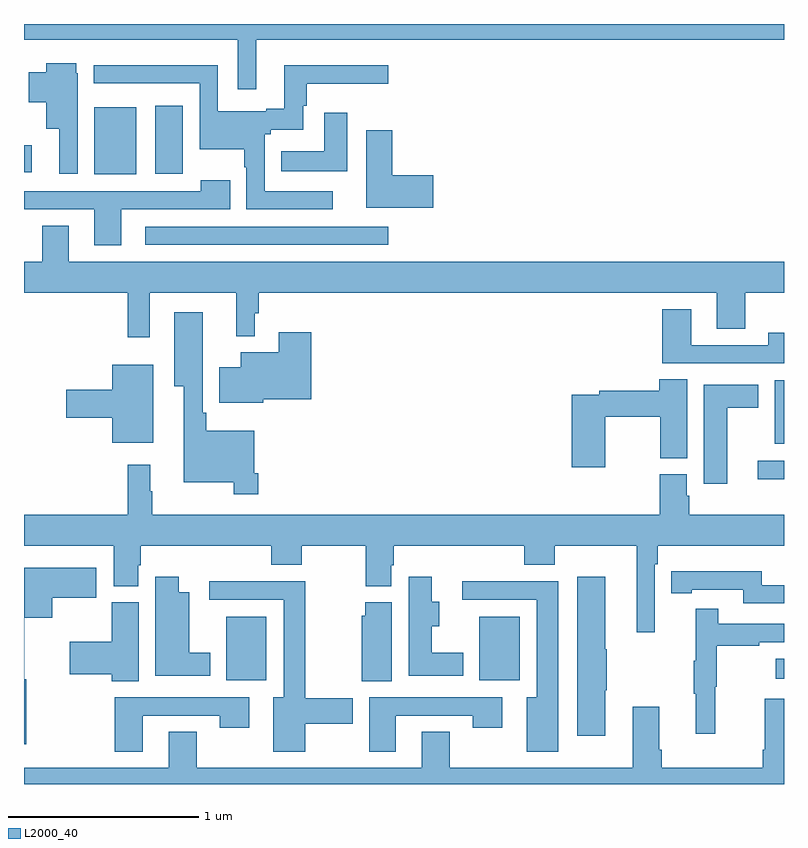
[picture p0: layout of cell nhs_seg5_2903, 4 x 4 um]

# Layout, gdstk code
import gdstk
lib = gdstk.Library(unit=1e-6, precision=1e-09)
def R(c, l, rs):  # rectangles x0, y0, x1, y1
    for r in rs: c.add(gdstk.rectangle(r[:2], r[2:], *l))
def P(c, l, *ps):  # polygons
    for p in ps: c.add(gdstk.Polygon(p, *l))
L2000_40 = (2000, 40)

nhs_seg5_2903 = lib.new_cell('nhs_seg5_2903')
R(nhs_seg5_2903, L2000_40, [(280.064,897.344,280.276,897.679), (281.396,897.344,281.608,897.679), (282.957,897.353,283,897.457), (282.861,898.403,283,898.5), (282.95,898.589,283,898.924), (279.639,899.637,280.918,899.733), (279.371,900.008,279.592,900.361), (279.692,900.012,279.835,900.37), (279,900.02,279.04,900.16)])
P(nhs_seg5_2903, L2000_40, [(280.222,900.716),(283,900.716),(283,900.799),(279,900.799),(279,900.716),(280.125,900.716),(280.125,900.456),(280.222,900.456)],
  [(279.282,900.54),(279.274,900.54),(279.274,900.592),(279.116,900.592),(279.116,900.544),(279.026,900.544),(279.026,900.386),(279.116,900.386),(279.116,900.248),(279.185,900.248),(279.185,900.012),(279.282,900.012)],
  [(280.624,899.919),(280.266,899.919),(280.266,900.218),(280.299,900.218),(280.299,900.243),(280.471,900.243),(280.471,900.368),(280.489,900.368),(280.489,900.485),(280.918,900.485),(280.918,900.583),(280.37,900.583),(280.37,900.352),(280.274,900.352),(280.274,900.339),(280.02,900.339),(280.02,900.583),(279.368,900.583),(279.368,900.486),(279.924,900.486),(279.924,900.14),(280.158,900.14),(280.158,900.044),(280.17,900.044),(280.17,899.823),(280.624,899.823)],
  [(280.702,900.331),(280.58,900.331),(280.58,900.13),(280.353,900.13),(280.353,900.023),(280.702,900.023)],
  [(281.155,900.002),(280.937,900.002),(280.937,900.241),(280.802,900.241),(280.802,899.831),(281.155,899.831)],
  [(279.511,899.823),(280.085,899.823),(280.085,899.977),(279.929,899.977),(279.929,899.919),(279,899.919),(279,899.823),(279.371,899.823),(279.371,899.634),(279.511,899.634)],
  [(279.663,899.384),(280.118,899.384),(280.118,899.156),(280.215,899.156),(280.215,899.277),(280.235,899.277),(280.235,899.384),(282.647,899.384),(282.647,899.194),(282.795,899.194),(282.795,899.384),(283,899.384),(283,899.548),(279.235,899.548),(279.235,899.738),(279.095,899.738),(279.095,899.548),(279,899.548),(279,899.384),(279.547,899.384),(279.547,899.151),(279.663,899.151)],
  [(283,899.173),(282.916,899.173),(282.916,899.109),(282.511,899.109),(282.511,899.299),(282.359,899.299),(282.359,899.013),(283,899.013)],
  [(280.232,898.435),(280.212,898.435),(280.212,898.657),(279.959,898.657),(279.959,898.753),(279.94,898.753),(279.94,899.281),(279.791,899.281),(279.791,898.892),(279.842,898.892),(279.842,898.388),(280.104,898.388),(280.104,898.323),(280.232,898.323)],
  [(280.26,898.823),(280.511,898.823),(280.511,899.176),(280.34,899.176),(280.34,899.071),(280.142,899.071),(280.142,898.993),(280.028,898.993),(280.028,898.805),(280.26,898.805)],
  [(279.679,899.005),(279.464,899.005),(279.464,898.874),(279.222,898.874),(279.222,898.727),(279.464,898.727),(279.464,898.595),(279.679,898.595)],
  [(282.06,898.732),(282.349,898.732),(282.349,898.513),(282.49,898.513),(282.49,898.928),(282.344,898.928),(282.344,898.868),(282.028,898.868),(282.028,898.848),(281.882,898.848),(281.882,898.467),(282.06,898.467)],
  [(282.7,898.778),(282.865,898.778),(282.865,898.9),(282.578,898.9),(282.578,898.38),(282.7,898.38)],
  [(282.321,897.956),(282.335,897.956),(282.335,898.052),(283,898.052),(283,898.216),(282.5,898.216),(282.5,898.317),(282.487,898.317),(282.487,898.428),(282.347,898.428),(282.347,898.216),(279.676,898.216),(279.676,898.34),(279.664,898.34),(279.664,898.48),(279.547,898.48),(279.547,898.216),(279,898.216),(279,898.052),(279.473,898.052),(279.473,897.841),(279.601,897.841),(279.601,897.951),(279.614,897.951),(279.614,898.052),(280.301,898.052),(280.301,897.953),(280.461,897.953),(280.461,898.052),(280.798,898.052),(280.798,897.841),(280.933,897.841),(280.933,897.951),(280.946,897.951),(280.946,898.052),(281.633,898.052),(281.633,897.953),(281.793,897.953),(281.793,898.052),(282.224,898.052),(282.224,897.597),(282.321,897.597)],
  [(279.011,897.35),(279.001,897.35),(279.001,897.674),(279.148,897.674),(279.148,897.779),(279.379,897.779),(279.379,897.937),(279,897.937),(279,897.009),(279.011,897.009)],
  [(283,897.846),(282.882,897.846),(282.882,897.919),(282.514,897.919),(282.514,897.918),(282.406,897.918),(282.406,897.802),(282.514,897.802),(282.514,897.822),(282.786,897.822),(282.786,897.75),(283,897.75)],
  [(281.311,897.49),(281.146,897.49),(281.146,897.629),(281.185,897.629),(281.185,897.759),(281.146,897.759),(281.146,897.889),(281.024,897.889),(281.024,897.368),(281.311,897.368)],
  [(279.979,897.49),(279.871,897.49),(279.871,897.808),(279.814,897.808),(279.814,897.889),(279.692,897.889),(279.692,897.368),(279.979,897.368)],
  [(282.058,897.292),(282.066,897.292),(282.066,897.509),(282.058,897.509),(282.058,897.889),(281.912,897.889),(281.912,897.054),(282.058,897.054)],
  [(281.812,897.866),(281.307,897.866),(281.307,897.768),(281.699,897.768),(281.699,897.256),(281.645,897.256),(281.645,896.97),(281.812,896.97)],
  [(280.48,897.116),(280.729,897.116),(280.729,897.251),(280.48,897.251),(280.48,897.866),(279.975,897.866),(279.975,897.768),(280.367,897.768),(280.367,897.256),(280.313,897.256),(280.313,896.97),(280.48,896.97)],
  [(279.604,897.756),(279.463,897.756),(279.463,897.547),(279.24,897.547),(279.24,897.377),(279.463,897.377),(279.463,897.34),(279.604,897.34)],
  [(280.936,897.756),(280.795,897.756),(280.795,897.684),(280.778,897.684),(280.778,897.34),(280.936,897.34)],
  [(282.638,897.312),(282.646,897.312),(282.646,897.526),(282.869,897.526),(282.869,897.546),(283,897.546),(283,897.642),(282.653,897.642),(282.653,897.721),(282.536,897.721),(282.536,897.449),(282.525,897.449),(282.525,897.275),(282.536,897.275),(282.536,897.063),(282.638,897.063)],
  [(280.957,897.159),(281.362,897.159),(281.362,897.096),(281.518,897.096),(281.518,897.255),(280.817,897.255),(280.817,896.97),(280.957,896.97)],
  [(279.625,897.159),(280.03,897.159),(280.03,897.096),(280.186,897.096),(280.186,897.255),(279.478,897.255),(279.478,896.97),(279.625,896.97)],
  [(283,897.247),(282.899,897.247),(282.899,896.98),(282.887,896.98),(282.887,896.884),(282.356,896.884),(282.356,896.98),(282.343,896.98),(282.343,897.205),(282.203,897.205),(282.203,896.884),(281.241,896.884),(281.241,897.074),(281.093,897.074),(281.093,896.884),(279.909,896.884),(279.909,897.074),(279.761,897.074),(279.761,896.884),(279,896.884),(279,896.799),(283,896.799)])

lib.write_gds('nhs_seg5_2903.gds')
